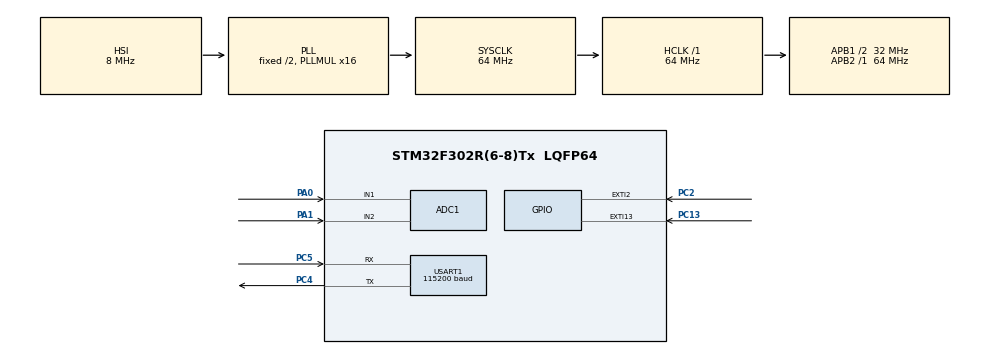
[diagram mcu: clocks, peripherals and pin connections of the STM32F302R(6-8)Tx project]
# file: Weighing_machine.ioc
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ADC1.Channel-0\#ChannelRegularConversion=ADC_CHANNEL_1
ADC1.Channel-1\#ChannelRegularConversion=ADC_CHANNEL_2
ADC1.ContinuousConvMode=ENABLE
ADC1.DMAContinuousRequests=ENABLE
ADC1.NbrOfConversion=2
ADC1.NbrOfConversionFlag=1
ADC1.Offset-0\#ChannelRegularConversion=0
ADC1.Offset-1\#ChannelRegularConversion=0
ADC1.OffsetNumber-0\#ChannelRegularConversion=ADC_OFFSET_NONE
ADC1.OffsetNumber-1\#ChannelRegularConversion=ADC_OFFSET_NONE
ADC1.Rank-0\#ChannelRegularConversion=1
ADC1.Rank-1\#ChannelRegularConversion=2
ADC1.SamplingTime-0\#ChannelRegularConversion=ADC_SAMPLETIME_1CYCLE_5
ADC1.SamplingTime-1\#ChannelRegularConversion=ADC_SAMPLETIME_1CYCLE_5
ADC1.master=1
Dma.ADC1.0.Direction=DMA_PERIPH_TO_MEMORY
Dma.ADC1.0.Instance=DMA1_Channel1
Dma.ADC1.0.MemDataAlignment=DMA_MDATAALIGN_HALFWORD
Dma.ADC1.0.MemInc=DMA_MINC_ENABLE
Dma.ADC1.0.Mode=DMA_CIRCULAR
Dma.ADC1.0.PeriphDataAlignment=DMA_PDATAALIGN_HALFWORD
Dma.ADC1.0.PeriphInc=DMA_PINC_DISABLE
Dma.ADC1.0.Priority=DMA_PRIORITY_VERY_HIGH
Dma.Request0=ADC1
FREERTOS.INCLUDE_eTaskGetState=0
FREERTOS.INCLUDE_xEventGroupSetBitFromISR=1
FREERTOS.INCLUDE_xTaskGetHandle=1
FREERTOS.INCLUDE_xTimerPendFunctionCall=1
FREERTOS.MEMORY_ALLOCATION=2
FREERTOS.Tasks01=defaultTask,-3,80,StartDefaultTask,Default,NULL,Dynamic,NULL,NULL
FREERTOS.configMAX_TASK_NAME_LEN=18
FREERTOS.configMINIMAL_STACK_SIZE=64
FREERTOS.configTIMER_TASK_STACK_DEPTH=64
FREERTOS.configTOTAL_HEAP_SIZE=7000
FREERTOS.configUSE_COUNTING_SEMAPHORES=1
FREERTOS.configUSE_IDLE_HOOK=1
FREERTOS.configUSE_NEWLIB_REENTRANT=1
FREERTOS.configUSE_TICK_HOOK=1
FREERTOS.configUSE_TIMERS=1
Mcu.Family=STM32F3
Mcu.Name=STM32F302R(6-8)Tx
Mcu.Package=LQFP64
NVIC.DMA1_Channel1_IRQn=true\:5\:0\:false\:false\:true\:true\:false\:true\:true
NVIC.EXTI15_10_IRQn=true\:5\:0\:false\:false\:true\:true\:true\:true\:true
NVIC.EXTI2_TSC_IRQn=true\:5\:0\:false\:false\:true\:true\:true\:true\:true
NVIC.PriorityGroup=NVIC_PRIORITYGROUP_4
NVIC.TIM2_IRQn=true\:15\:0\:false\:false\:true\:false\:false\:true\:true
NVIC.TimeBase=TIM2_IRQn
NVIC.TimeBaseIP=TIM2
PA0.Mode=IN1-Single-Ended
PA0.Signal=ADC1_IN1
PA1.Mode=IN2-Single-Ended
PA1.Signal=ADC1_IN2
PA13.Mode=Serial_Wire
PA13.Signal=SYS_JTMS-SWDIO
PA14.Mode=Serial_Wire
PA14.Signal=SYS_JTCK-SWCLK
PC13.Signal=GPXTI13
PC2.GPIO_PuPd=GPIO_PULLDOWN
PC2.Signal=GPXTI2
PC4.Mode=Asynchronous
PC4.Signal=USART1_TX
PC5.Mode=Asynchronous
PC5.Signal=USART1_RX
ProjectManager.HeapSize=0x200
ProjectManager.StackSize=0x400
ProjectManager.TargetToolchain=STM32CubeIDE
RCC.AHBFreq_Value=64000000
RCC.APB1CLKDivider=RCC_HCLK_DIV2
RCC.APB1Freq_Value=32000000
RCC.APB1TimFreq_Value=64000000
RCC.APB2Freq_Value=64000000
RCC.APB2TimFreq_Value=64000000
RCC.CortexFreq_Value=64000000
RCC.HCLKFreq_Value=64000000
RCC.HSE_VALUE=8000000
RCC.HSI_VALUE=8000000
RCC.LSE_VALUE=32768
RCC.PLLMUL=RCC_PLL_MUL16
RCC.SYSCLKFreq_VALUE=64000000
RCC.SYSCLKSourceVirtual=RCC_SYSCLKSOURCE_PLLCLK
RCC.USBFreq_Value=64000000
STMicroelectronics.X-CUBE-ALGOBUILD.1.3.0.LibraryCcDSPOoLibraryJjDSPOoLibrary=true
USART1.BaudRate=115200
USART1.VirtualMode-Asynchronous=VM_ASYNC
VP_FREERTOS_VS_CMSIS_V1.Mode=CMSIS_V1
VP_STMicroelectronics.X-CUBE-ALGOBUILD_VS_DSPOoLibraryJjLibrary_1.3.0_1.3.0.Mode=DSPOoLibraryJjLibrary
VP_SYS_VS_tim2.Mode=TIM2
board=custom

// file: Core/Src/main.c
/* USER CODE BEGIN Header */
/**
  ******************************************************************************
  * @file           : main.c
  * @brief          : Main program body
  ******************************************************************************
  * @attention
  *
  * Copyright (c) 2023 STMicroelectronics.
  * All rights reserved.
  *
  * This software is licensed under terms that can be found in the LICENSE file
  * in the root directory of this software component.
  * If no LICENSE file comes with this software, it is provided AS-IS.
  *
  ******************************************************************************
  */
/* USER CODE END Header */
#include "main.h"
#include "cmsis_os.h"

/* USER CODE BEGIN Includes */
#include <stdio.h>
#include <string.h>
/* USER CODE END Includes */

/* USER CODE BEGIN PD */
#define SIZE_BUFFER 50
#define ETALON 197
/* USER CODE END PD */

 ADC_HandleTypeDef hadc1;
DMA_HandleTypeDef hdma_adc1;

UART_HandleTypeDef huart1;

osThreadId defaultTaskHandle;
/* USER CODE BEGIN PV */
typedef struct
{
	QueueHandle_t queueh;
	QueueHandle_t queueh_clbrt;
	char tx[2];
	char rx;
	uint16_t adc_buf[SIZE_BUFFER];
	uint16_t adc_buf_result;
	uint16_t adc_calibration[SIZE_BUFFER];
	uint16_t adc_calibration_result;
	uint16_t adc_calibration_result1;
	uint16_t offset;
	uint16_t k;
}buffer_uart;
buffer_uart buffer;

SemaphoreHandle_t xSemaphore1;
//SemaphoreHandle_t xSemaphore2;
EventGroupHandle_t xCreatedEventGroup1;
/* USER CODE END PV */

void SystemClock_Config(void);
static void MX_GPIO_Init(void);
static void MX_ADC1_Init(void);
static void MX_DMA_Init(void);
static void MX_USART1_UART_Init(void);
void StartDefaultTask(void const * argument);

/* USER CODE BEGIN PFP */
void calibration(void);
void weighing(void);
void sendUSART1weighing(void);
void receiveUSART1(void);
void HAL_GPIO_EXTI_Callback(uint16_t GPIO_Pin);
void sendUSART1int(void);
void sendUSART1char(void);
/* USER CODE END PFP */

int main(void)
{
  /* USER CODE BEGIN 1 */
	buffer.offset = 0;
	buffer.k = 1;

  /* USER CODE END 1 */

  /* MCU Configuration--------------------------------------------------------*/

  /* Reset of all peripherals, Initializes the Flash interface and the Systick. */
  HAL_Init();

  /* Configure the system clock */
  SystemClock_Config();

  /* Initialize all configured peripherals */
  MX_GPIO_Init();
  MX_ADC1_Init();
  MX_DMA_Init();
  MX_USART1_UART_Init();
  /* USER CODE BEGIN 2 */
  if (HAL_DMA_Init(&hdma_adc1) != HAL_OK)
  {
    Error_Handler();
  }

  __HAL_LINKDMA(&hadc1,DMA_Handle,hdma_adc1);
  HAL_ADC_Start_DMA(&hadc1, (uint32_t*)&buffer.adc_buf, sizeof(buffer.adc_buf)/2);
  //HAL_DMA_Start(&hdma_adc1, &ADC1->DR, (uint32_t)&buffer.adc_buf, sizeof(buffer.adc_buf)/2);

  /* USER CODE END 2 */

  /* USER CODE BEGIN RTOS_SEMAPHORES */
  /* add semaphores, ... */
  xSemaphore1 = xSemaphoreCreateBinary();
  //xSemaphore2 = xSemaphoreCreateCounting(4, 0);
  xCreatedEventGroup1 = xEventGroupCreate();
  /* USER CODE END RTOS_SEMAPHORES */

  /* USER CODE BEGIN RTOS_QUEUES */
  /* add queues, ... */
  QueueHandle_t myQueue1;
  myQueue1 = xQueueCreate(40, sizeof(char));
  buffer.queueh = myQueue1;

  QueueHandle_t myQueue2;
  myQueue2 = xQueueCreate(40, sizeof(char));
  buffer.queueh_clbrt = myQueue2;
  /* USER CODE END RTOS_QUEUES */

  /* Create the thread(s) */
  /* definition and creation of defaultTask */
  osThreadDef(defaultTask, StartDefaultTask, osPriorityIdle, 0, 80);
  defaultTaskHandle = osThreadCreate(osThread(defaultTask), NULL);

  /* USER CODE BEGIN RTOS_THREADS */
  /* add threads, ... */
  xTaskCreate(calibration, "calibration", 180, NULL, 5, NULL);
  xTaskCreate(weighing, "weighing", 64, NULL, 2, NULL);
  xTaskCreate(sendUSART1weighing, "send data W", 128, NULL, 3, NULL);
  xTaskCreate(receiveUSART1, "receive data", 64, NULL, 2, NULL);
  xTaskCreate(sendUSART1int, "send data i", 160, NULL, 4, NULL);
  xTaskCreate(sendUSART1char, "send data c", 128, NULL, 4, NULL);
  /* USER CODE END RTOS_THREADS */

  /* Start scheduler */
  osKernelStart();

  /* We should never get here as control is now taken by the scheduler */
  /* Infinite loop */
  while (1)
  {

  }
}

void SystemClock_Config(void)
{
  RCC_OscInitTypeDef RCC_OscInitStruct = {0};
  RCC_ClkInitTypeDef RCC_ClkInitStruct = {0};
  RCC_PeriphCLKInitTypeDef PeriphClkInit = {0};

  /** Initializes the RCC Oscillators according to the specified parameters
  * in the RCC_OscInitTypeDef structure.
  */
  RCC_OscInitStruct.OscillatorType = RCC_OSCILLATORTYPE_HSI;
  RCC_OscInitStruct.HSIState = RCC_HSI_ON;
  RCC_OscInitStruct.HSICalibrationValue = RCC_HSICALIBRATION_DEFAULT;
  RCC_OscInitStruct.PLL.PLLState = RCC_PLL_ON;
  RCC_OscInitStruct.PLL.PLLSource = RCC_PLLSOURCE_HSI;
  RCC_OscInitStruct.PLL.PLLMUL = RCC_PLL_MUL16;
  if (HAL_RCC_OscConfig(&RCC_OscInitStruct) != HAL_OK)
  {
    Error_Handler();
  }

  /** Initializes the CPU, AHB and APB buses clocks
  */
  RCC_ClkInitStruct.ClockType = RCC_CLOCKTYPE_HCLK|RCC_CLOCKTYPE_SYSCLK
                              |RCC_CLOCKTYPE_PCLK1|RCC_CLOCKTYPE_PCLK2;
  RCC_ClkInitStruct.SYSCLKSource = RCC_SYSCLKSOURCE_PLLCLK;
  RCC_ClkInitStruct.AHBCLKDivider = RCC_SYSCLK_DIV1;
  RCC_ClkInitStruct.APB1CLKDivider = RCC_HCLK_DIV2;
  RCC_ClkInitStruct.APB2CLKDivider = RCC_HCLK_DIV1;

  if (HAL_RCC_ClockConfig(&RCC_ClkInitStruct, FLASH_LATENCY_2) != HAL_OK)
  {
    Error_Handler();
  }
  PeriphClkInit.PeriphClockSelection = RCC_PERIPHCLK_USART1|RCC_PERIPHCLK_ADC1;
  PeriphClkInit.Usart1ClockSelection = RCC_USART1CLKSOURCE_PCLK1;
  PeriphClkInit.Adc1ClockSelection = RCC_ADC1PLLCLK_DIV1;

  if (HAL_RCCEx_PeriphCLKConfig(&PeriphClkInit) != HAL_OK)
  {
    Error_Handler();
  }
}

static void MX_ADC1_Init(void)
{

  ADC_ChannelConfTypeDef sConfig = {0};

  /** Common config
  */
  hadc1.Instance = ADC1;
  hadc1.Init.ClockPrescaler = ADC_CLOCK_ASYNC_DIV1;
  hadc1.Init.Resolution = ADC_RESOLUTION_12B;
  hadc1.Init.ScanConvMode = ADC_SCAN_ENABLE;
  hadc1.Init.ContinuousConvMode = ENABLE;
  hadc1.Init.DiscontinuousConvMode = DISABLE;
  hadc1.Init.ExternalTrigConvEdge = ADC_EXTERNALTRIGCONVEDGE_NONE;
  hadc1.Init.ExternalTrigConv = ADC_SOFTWARE_START;
  hadc1.Init.DataAlign = ADC_DATAALIGN_RIGHT;
  hadc1.Init.NbrOfConversion = 2;
  hadc1.Init.DMAContinuousRequests = ENABLE;
  hadc1.Init.EOCSelection = ADC_EOC_SINGLE_CONV;
  hadc1.Init.LowPowerAutoWait = DISABLE;
  hadc1.Init.Overrun = ADC_OVR_DATA_OVERWRITTEN;
  if (HAL_ADC_Init(&hadc1) != HAL_OK)
  {
    Error_Handler();
  }

  /** Configure Regular Channel
  */
  sConfig.Channel = ADC_CHANNEL_1;
  sConfig.Rank = ADC_REGULAR_RANK_1;
  sConfig.SingleDiff = ADC_SINGLE_ENDED;
  sConfig.SamplingTime = ADC_SAMPLETIME_1CYCLE_5;
  sConfig.OffsetNumber = ADC_OFFSET_NONE;
  sConfig.Offset = 0;
  if (HAL_ADC_ConfigChannel(&hadc1, &sConfig) != HAL_OK)
  {
    Error_Handler();
  }

  /** Configure Regular Channel
  */
  sConfig.Channel = ADC_CHANNEL_2;
  sConfig.Rank = ADC_REGULAR_RANK_2;
  if (HAL_ADC_ConfigChannel(&hadc1, &sConfig) != HAL_OK)
  {
    Error_Handler();
  }

}

static void MX_USART1_UART_Init(void)
{

  huart1.Instance = USART1;
  huart1.Init.BaudRate = 115200;
  huart1.Init.WordLength = UART_WORDLENGTH_8B;
  huart1.Init.StopBits = UART_STOPBITS_1;
  huart1.Init.Parity = UART_PARITY_NONE;
  huart1.Init.Mode = UART_MODE_TX_RX;
  huart1.Init.HwFlowCtl = UART_HWCONTROL_NONE;
  huart1.Init.OverSampling = UART_OVERSAMPLING_16;
  huart1.Init.OneBitSampling = UART_ONE_BIT_SAMPLE_DISABLE;
  huart1.AdvancedInit.AdvFeatureInit = UART_ADVFEATURE_NO_INIT;
  if (HAL_UART_Init(&huart1) != HAL_OK)
  {
    Error_Handler();
  }

}

static void MX_DMA_Init(void)
{

  /* DMA controller clock enable */
  __HAL_RCC_DMA1_CLK_ENABLE();

  /* DMA interrupt init */
  /* DMA1_Channel1_IRQn interrupt configuration */
  HAL_NVIC_SetPriority(DMA1_Channel1_IRQn, 5, 0);
  HAL_NVIC_EnableIRQ(DMA1_Channel1_IRQn);

}

static void MX_GPIO_Init(void)
{
  GPIO_InitTypeDef GPIO_InitStruct = {0};

  /* GPIO Ports Clock Enable */
  __HAL_RCC_GPIOC_CLK_ENABLE();
  __HAL_RCC_GPIOA_CLK_ENABLE();

  /*Configure GPIO pin : PC13 */
  GPIO_InitStruct.Pin = GPIO_PIN_13;
  GPIO_InitStruct.Mode = GPIO_MODE_IT_RISING;
  GPIO_InitStruct.Pull = GPIO_NOPULL;
  HAL_GPIO_Init(GPIOC, &GPIO_InitStruct);

  /*Configure GPIO pin : PC2 */
  GPIO_InitStruct.Pin = GPIO_PIN_2;
  GPIO_InitStruct.Mode = GPIO_MODE_IT_RISING;
  GPIO_InitStruct.Pull = GPIO_PULLDOWN;
  HAL_GPIO_Init(GPIOC, &GPIO_InitStruct);

  /* EXTI interrupt init*/
  HAL_NVIC_SetPriority(EXTI2_TSC_IRQn, 5, 0);
  HAL_NVIC_EnableIRQ(EXTI2_TSC_IRQn);

  HAL_NVIC_SetPriority(EXTI15_10_IRQn, 5, 0);
  HAL_NVIC_EnableIRQ(EXTI15_10_IRQn);

}

/* USER CODE BEGIN 4 */
void calibration(void)
{
	for( ;; )
	{
		xSemaphoreTake(xSemaphore1, portMAX_DELAY);
		for(int i = 0; i < SIZE_BUFFER; i++)
		{
			arm_mean_q15((int16_t*)&buffer.adc_buf, sizeof(buffer.adc_buf)/2, (int16_t*)&buffer.adc_calibration[i]);
			vTaskDelay(50);
		}
		arm_mean_q15((int16_t*)&buffer.adc_calibration, sizeof(buffer.adc_calibration)/2, (int16_t*)&buffer.adc_calibration_result);
		char string_buff[] = "Calibration 0 value: = ";
		for(uint8_t i = 0; i<(sizeof(string_buff)); i++)
		{
			xQueueSend(buffer.queueh_clbrt, (void*)(&string_buff[i]), 5);
		}
		xEventGroupSetBits(xCreatedEventGroup1, 0x1);
		xEventGroupWaitBits(xCreatedEventGroup1, 0x2, pdTRUE, pdTRUE, portMAX_DELAY);
		xQueueSend(buffer.queueh_clbrt, (void*)(((char*) &buffer.adc_calibration_result)), 1);
		xQueueSend(buffer.queueh_clbrt, (void*)(((char*) &buffer.adc_calibration_result)+1), 1);
		xEventGroupSetBits(xCreatedEventGroup1, 0x4);
		xEventGroupWaitBits(xCreatedEventGroup1, 0x8, pdTRUE, pdTRUE, portMAX_DELAY);
		char string_buff2[] = "Place 197 grams etalon\r\n";
		xQueueReset(buffer.queueh_clbrt);
		for(uint8_t i = 0; i<(sizeof(string_buff2)); i++)
		{
			xQueueSend(buffer.queueh_clbrt, (void*)(&string_buff2[i]), 5);
		}
		xEventGroupSetBits(xCreatedEventGroup1, 0x1);
		xEventGroupWaitBits(xCreatedEventGroup1, 0x2, pdTRUE, pdTRUE, portMAX_DELAY);
		xEventGroupWaitBits(xCreatedEventGroup1, 0x10, pdTRUE, pdTRUE, portMAX_DELAY);
		for(int i = 0; i < SIZE_BUFFER; i++)
		{
			arm_mean_q15((int16_t*)&buffer.adc_buf, sizeof(buffer.adc_buf)/2, (int16_t*)&buffer.adc_calibration[i]);
			vTaskDelay(50);
		}
		arm_mean_q15((int16_t*)&buffer.adc_calibration, sizeof(buffer.adc_calibration)/2, (int16_t*)&buffer.adc_calibration_result1);
		char string_buff3[] = "Calibration 1 value: = ";
				for(uint8_t i = 0; i<(sizeof(string_buff3)); i++)
		{
			xQueueSend(buffer.queueh_clbrt, (void*)(&string_buff3[i]), 5);
		}
		xEventGroupSetBits(xCreatedEventGroup1, 0x1);
		xEventGroupWaitBits(xCreatedEventGroup1, 0x2, pdTRUE, pdTRUE, portMAX_DELAY);
		xQueueSend(buffer.queueh_clbrt, (void*)(((char*) &buffer.adc_calibration_result1)), 1);
		xQueueSend(buffer.queueh_clbrt, (void*)(((char*) &buffer.adc_calibration_result1)+1), 1);
		xEventGroupSetBits(xCreatedEventGroup1, 0x4);
		xEventGroupWaitBits(xCreatedEventGroup1, 0x8, pdTRUE, pdTRUE, portMAX_DELAY);
		buffer.offset = buffer.adc_calibration_result1 - buffer.adc_calibration_result;
		buffer.k = ETALON/(buffer.adc_calibration_result1 - buffer.adc_calibration_result);

		vTaskDelay(400);
		xSemaphoreTake(xSemaphore1, 1);
		xEventGroupWaitBits(xCreatedEventGroup1, 0x10, pdTRUE, pdTRUE, 1);
	}
	vTaskDelete(xTaskGetHandle("calibration"));
}

void weighing(void)
{
	for( ;; )
	{
		vTaskDelay(500);
		arm_mean_q15((int16_t*)&buffer.adc_buf, sizeof(buffer.adc_buf)/2, (int16_t*)&buffer.adc_buf_result);
		buffer.adc_buf_result = (buffer.adc_buf_result - buffer.offset)*buffer.k;
		xQueueSend(buffer.queueh, (void*)(((char*) &buffer.adc_buf_result)), 1);
		xQueueSend(buffer.queueh, (void*)(((char*) &buffer.adc_buf_result)+1), 1);
		xTaskNotify(xTaskGetHandle("send data W"), 0, eNoAction);
		taskYIELD();
	}
}

void sendUSART1weighing(void)
{
	uint16_t res_to_uart;
	char string_buff[8];
	for( ;; )
	{
		xTaskNotifyWait(0x00, 0xffffffff, NULL, portMAX_DELAY);
		xQueueReceive(buffer.queueh, &buffer.tx[0], portMAX_DELAY);
		xQueueReceive(buffer.queueh, &buffer.tx[1], portMAX_DELAY);
		res_to_uart = buffer.tx[0];
		res_to_uart = res_to_uart + (buffer.tx[1] << 8);
		sprintf(string_buff, "%d\r\n", res_to_uart);
		HAL_UART_Transmit(&huart1, (uint8_t*) string_buff, sizeof(string_buff), 100);
	}
	 vTaskDelete(xTaskGetHandle("send data W"));
}

void sendUSART1int(void)
{
	for( ;; )
	{
		uint16_t res_to_uart;
		char string_buff[30] = {0};
		xEventGroupWaitBits(xCreatedEventGroup1, 0x4, pdTRUE, pdTRUE, portMAX_DELAY);
		xQueueReceive(buffer.queueh_clbrt, &buffer.tx[0], portMAX_DELAY);
		xQueueReceive(buffer.queueh_clbrt, &buffer.tx[1], portMAX_DELAY);
		res_to_uart = buffer.tx[0];
		res_to_uart = res_to_uart + (buffer.tx[1] << 8);
		sprintf(string_buff, "%d\r\n", res_to_uart);
		HAL_UART_Transmit(&huart1, (uint8_t*) string_buff, sizeof(string_buff), 100);
		xEventGroupSetBits(xCreatedEventGroup1, 0x8);
	}
	 vTaskDelete(xTaskGetHandle("send data i"));
}
void sendUSART1char(void)
{
	for( ;; )
	{
		char string_buff[30] = {0};
		BaseType_t res;
		uint8_t i = 0;
		xEventGroupWaitBits(xCreatedEventGroup1, 0x1, pdTRUE, pdTRUE, portMAX_DELAY);
		do{
			res = xQueueReceive(buffer.queueh_clbrt, &string_buff[i], portMAX_DELAY);
			i++;
		}while(res != errQUEUE_EMPTY && string_buff[i-1] != '\0');

		HAL_UART_Transmit(&huart1, (uint8_t*) string_buff, i+1, 100);
		xEventGroupSetBits(xCreatedEventGroup1, 0x2);
	}
	 vTaskDelete(xTaskGetHandle("send data c"));
}

void receiveUSART1(void)
{
	for( ;; )
	{
		vTaskDelete(xTaskGetHandle("receive data"));
	}
	vTaskDelete(xTaskGetHandle("receive data"));
}

HAL_GPIO_EXTI_Callback(uint16_t GPIO_Pin)
{
	if(GPIO_Pin == GPIO_PIN_2)
	{
		xSemaphoreGiveFromISR(xSemaphore1, NULL);
	}
	if(GPIO_Pin == GPIO_PIN_13)
	{
		xEventGroupSetBitsFromISR(xCreatedEventGroup1, 0x10, pdFALSE);
	}
}

/* USER CODE END 4 */

void StartDefaultTask(void const * argument)
{
  for(;;)
  {
  }
}

void HAL_TIM_PeriodElapsedCallback(TIM_HandleTypeDef *htim)
{
  if (htim->Instance == TIM2) {
    HAL_IncTick();
  }
}

void Error_Handler(void)
{
  __disable_irq();
  while (1)
  {
  }
}

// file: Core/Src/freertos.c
/* USER CODE BEGIN Header */
/**
  ******************************************************************************
  * File Name          : freertos.c
  * Description        : Code for freertos applications
  ******************************************************************************
  * @attention
  *
  * Copyright (c) 2023 STMicroelectronics.
  * All rights reserved.
  *
  * This software is licensed under terms that can be found in the LICENSE file
  * in the root directory of this software component.
  * If no LICENSE file comes with this software, it is provided AS-IS.
  *
  ******************************************************************************
  */
/* USER CODE END Header */

#include "FreeRTOS.h"
#include "task.h"
#include "main.h"

/* GetIdleTaskMemory prototype (linked to static allocation support) */
void vApplicationGetIdleTaskMemory( StaticTask_t **ppxIdleTaskTCBBuffer, StackType_t **ppxIdleTaskStackBuffer, uint32_t *pulIdleTaskStackSize );

/* GetTimerTaskMemory prototype (linked to static allocation support) */
void vApplicationGetTimerTaskMemory( StaticTask_t **ppxTimerTaskTCBBuffer, StackType_t **ppxTimerTaskStackBuffer, uint32_t *pulTimerTaskStackSize );

/* Hook prototypes */
void vApplicationIdleHook(void);
void vApplicationTickHook(void);

/* USER CODE BEGIN 2 */
__weak void vApplicationIdleHook( void )
{
   /* vApplicationIdleHook() will only be called if configUSE_IDLE_HOOK is set
   to 1 in FreeRTOSConfig.h. It will be called on each iteration of the idle
   task. It is essential that code added to this hook function never attempts
   to block in any way (for example, call xQueueReceive() with a block time
   specified, or call vTaskDelay()). If the application makes use of the
   vTaskDelete() API function (as this demo application does) then it is also
   important that vApplicationIdleHook() is permitted to return to its calling
   function, because it is the responsibility of the idle task to clean up
   memory allocated by the kernel to any task that has since been deleted. */
}
/* USER CODE END 2 */

/* USER CODE BEGIN 3 */
__weak void vApplicationTickHook( void )
{
   /* This function will be called by each tick interrupt if
   configUSE_TICK_HOOK is set to 1 in FreeRTOSConfig.h. User code can be
   added here, but the tick hook is called from an interrupt context, so
   code must not attempt to block, and only the interrupt safe FreeRTOS API
   functions can be used (those that end in FromISR()). */
}
/* USER CODE END 3 */

/* USER CODE BEGIN GET_IDLE_TASK_MEMORY */
static StaticTask_t xIdleTaskTCBBuffer;
static StackType_t xIdleStack[configMINIMAL_STACK_SIZE];

void vApplicationGetIdleTaskMemory( StaticTask_t **ppxIdleTaskTCBBuffer, StackType_t **ppxIdleTaskStackBuffer, uint32_t *pulIdleTaskStackSize )
{
  *ppxIdleTaskTCBBuffer = &xIdleTaskTCBBuffer;
  *ppxIdleTaskStackBuffer = &xIdleStack[0];
  *pulIdleTaskStackSize = configMINIMAL_STACK_SIZE;
  /* place for user code */
}
/* USER CODE END GET_IDLE_TASK_MEMORY */

/* USER CODE BEGIN GET_TIMER_TASK_MEMORY */
static StaticTask_t xTimerTaskTCBBuffer;
static StackType_t xTimerStack[configTIMER_TASK_STACK_DEPTH];

void vApplicationGetTimerTaskMemory( StaticTask_t **ppxTimerTaskTCBBuffer, StackType_t **ppxTimerTaskStackBuffer, uint32_t *pulTimerTaskStackSize )
{
  *ppxTimerTaskTCBBuffer = &xTimerTaskTCBBuffer;
  *ppxTimerTaskStackBuffer = &xTimerStack[0];
  *pulTimerTaskStackSize = configTIMER_TASK_STACK_DEPTH;
  /* place for user code */
}
/* USER CODE END GET_TIMER_TASK_MEMORY */
